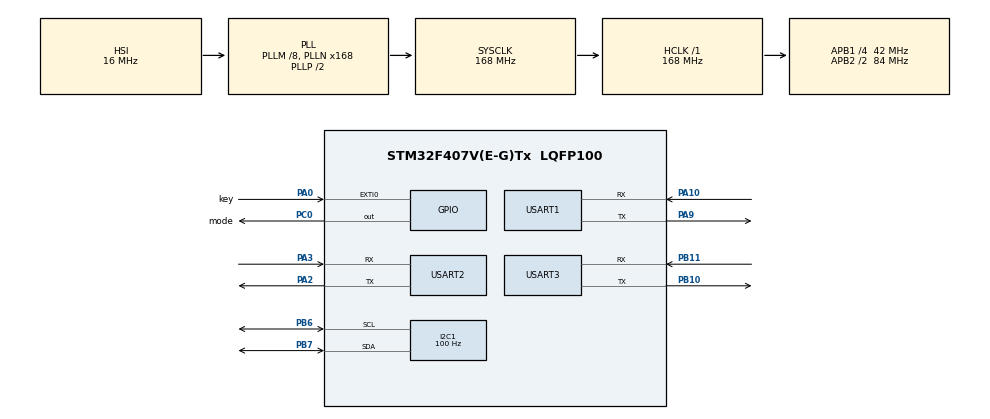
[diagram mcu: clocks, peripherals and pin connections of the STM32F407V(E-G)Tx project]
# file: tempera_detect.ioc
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I2C1.ClockSpeed=100
Mcu.Family=STM32F4
Mcu.Name=STM32F407V(E-G)Tx
Mcu.Package=LQFP100
NVIC.EXTI0_IRQn=true\:2\:0\:true\:false\:true\:true\:true
NVIC.PriorityGroup=NVIC_PRIORITYGROUP_2
NVIC.USART1_IRQn=true\:1\:0\:true\:false\:true\:true\:true
NVIC.USART3_IRQn=true\:3\:0\:true\:false\:true\:true\:true
PA0-WKUP.GPIO_Label=key
PA0-WKUP.GPIO_PuPd=GPIO_PULLDOWN
PA0-WKUP.Signal=GPXTI0
PA10.Mode=Asynchronous
PA10.Signal=USART1_RX
PA2.Mode=Asynchronous
PA2.Signal=USART2_TX
PA3.Mode=Asynchronous
PA3.Signal=USART2_RX
PA9.Mode=Asynchronous
PA9.Signal=USART1_TX
PB10.Mode=Asynchronous
PB10.Signal=USART3_TX
PB11.Mode=Asynchronous
PB11.Signal=USART3_RX
PB6.Mode=I2C
PB6.Signal=I2C1_SCL
PB7.Mode=I2C
PB7.Signal=I2C1_SDA
PC0.GPIO_Label=mode
PC0.Signal=GPIO_Output
PH0-OSC_IN.Mode=HSE-External-Oscillator
PH0-OSC_IN.Signal=RCC_OSC_IN
PH1-OSC_OUT.Mode=HSE-External-Oscillator
PH1-OSC_OUT.Signal=RCC_OSC_OUT
ProjectManager.HeapSize=0x200
ProjectManager.StackSize=0x400
ProjectManager.TargetToolchain=MDK-ARM V5.27
RCC.48MHZClocksFreq_Value=84000000
RCC.AHBFreq_Value=168000000
RCC.APB1CLKDivider=RCC_HCLK_DIV4
RCC.APB1Freq_Value=42000000
RCC.APB1TimFreq_Value=84000000
RCC.APB2CLKDivider=RCC_HCLK_DIV2
RCC.APB2Freq_Value=84000000
RCC.APB2TimFreq_Value=168000000
RCC.CortexFreq_Value=168000000
RCC.HCLKFreq_Value=168000000
RCC.HSE_VALUE=25000000
RCC.HSI_VALUE=16000000
RCC.LSE_VALUE=32768
RCC.PLLM=8
RCC.PLLN=168
RCC.SYSCLKFreq_VALUE=168000000
RCC.SYSCLKSource=RCC_SYSCLKSOURCE_PLLCLK
RCC.VCOOutputFreq_Value=336000000
USART1.VirtualMode=VM_ASYNC
USART2.VirtualMode=VM_ASYNC
USART3.VirtualMode=VM_ASYNC
board=custom

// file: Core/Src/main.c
/* USER CODE BEGIN Header */
/**
  ******************************************************************************
  * @file           : main.c
  * @brief          : Main program body
  ******************************************************************************
  * @attention
  *
  * <h2><center>&copy; Copyright (c) 2021 STMicroelectronics.
  * All rights reserved.</center></h2>
  *
  * This software component is licensed by ST under BSD 3-Clause license,
  * the "License"; You may not use this file except in compliance with the
  * License. You may obtain a copy of the License at:
  *                        opensource.org/licenses/BSD-3-Clause
  *
  ******************************************************************************
  */
/* USER CODE END Header */
#include "main.h"
#include "i2c.h"
#include "usart.h"
#include "gpio.h"

/* USER CODE BEGIN Includes */
#include "MLX90614.h"
#include "stdio.h"
#include "string.h"
/* USER CODE END Includes */

/* USER CODE BEGIN PV */
char buf[30];
uint8_t len;

float ObjectTemperature;
float AmbientTemperature;
float Emissivity;
uint8_t Temperature;
uint8_t UART1_RxBuffer;
uint8_t UART3_RxBuffer;
uint8_t buffer1[7] = "\0";
uint8_t buffer2[7] = "\0";
uint8_t mode = 0; //默认0:模式0  1：模式1
uint8_t num, score, state;
uint8_t end[3]= {0xff,0xff,0xff};
uint16_t dist;
/* USER CODE END PV */

void SystemClock_Config(void);

/* USER CODE BEGIN 0 */
/**
  * @brief  串口发送函数
  * @retval None
  */
#include "stdio.h"
#include "stdarg.h"
#include "string.h"

#define    TXBUF_SIZE_MAX    100

void uartx_printf(UART_HandleTypeDef huartx, const char *format, ...)
{
    va_list args;
    uint32_t length;
    uint8_t txbuf[TXBUF_SIZE_MAX] = {0};

    va_start(args, format);
    length = vsnprintf((char *)txbuf, sizeof(txbuf), (char *)format, args);
    va_end(args);
    HAL_UART_Transmit(&huartx, (uint8_t *)txbuf, length, HAL_MAX_DELAY);
    memset(txbuf, 0, TXBUF_SIZE_MAX);
};
/* USER CODE END 0 */

int main(void)
{

  /* MCU Configuration--------------------------------------------------------*/

  /* Reset of all peripherals, Initializes the Flash interface and the Systick. */
  HAL_Init();

  /* Configure the system clock */
  SystemClock_Config();

  /* Initialize all configured peripherals */
  MX_GPIO_Init();
  MX_I2C1_Init();
  MX_USART1_UART_Init();
  MX_USART2_UART_Init();
  MX_USART3_UART_Init();
  /* USER CODE BEGIN 2 */
  MLX90614_Init(&hi2c1);
  MLX90614_SetEmissivity(0.985); // Human skin
  HAL_UART_Receive_IT(&huart1, (uint8_t*)&UART1_RxBuffer, 1); //开启串口中断
  HAL_UART_Receive_IT(&huart3, (uint8_t*)&UART3_RxBuffer, 1); //开启串口中断
  /* USER CODE END 2 */

  /* Infinite loop */
  /* USER CODE BEGIN WHILE */
  while (1)
  {
    MLX90614_ReadAmbientTemperature(&AmbientTemperature);
    MLX90614_ReadObjectTemperature(&ObjectTemperature);
    MLX90614_GetEmissivity(&Emissivity);

//    memset(buf, 0x00, 30); //清空数组
//	  len = sprintf(buf, "Emissivity: %.3f\n\r", Emissivity);   //辐射率
	  //HAL_UART_Transmit(&huart1, (uint8_t*)buf, len, 20);

//	  memset(buf, 0x00, 30);
//	  len = sprintf(buf, "Ambient: %.2f\n\r", AmbientTemperature);    //室温
	  //HAL_UART_Transmit(&huart1, (uint8_t*)buf, len, 20);

	  memset(buf, 0x00, 30);
	  len = sprintf(buf, "Object: %.2f\n\n\r", ObjectTemperature);    //目标温度
	  //HAL_UART_Transmit(&huart2, (uint8_t*)buf, len, 20);
	  HAL_Delay(50);

    if(!mode){
      score = buffer1[2];
      num = buffer1[1]; //0代表未识别的人 1，2，3分别代表三个人
      //uartx_printf(huart2, "num: %d  score: %d\r\n", num, score);
//      uartx_printf(huart2, "")
    }
    else
    {
      state = buffer1[1]; //口罩识别状态
      score = buffer1[2]; //置信率
      //uartx_printf(huart2, "state: %d score: %d\r\n", state, score);
    }
    uartx_printf(huart2, "n0.val=%d", dist);
    HAL_UART_Transmit(&huart2,end,3,0xffff);

    Temperature = (uint8_t)ObjectTemperature;
    uartx_printf(huart2, "n1.val=%d", Temperature);
    HAL_UART_Transmit(&huart2,end,3,0xffff);
    HAL_Delay(20);
    if(state == 0){
      uartx_printf(huart2, "t8.txt=\"请您佩戴口罩\"");
      HAL_UART_Transmit(&huart2,end,3,0xffff);
    }
    else if(state && Temperature<37.3)
    {
      uartx_printf(huart2, "t8.txt=\"体温正常\"");
      HAL_UART_Transmit(&huart2,end,3,0xffff);
    }
    else if(state && Temperature>=37.3)
    {
      uartx_printf(huart2, "t8.txt=\"体温异常\"");
      HAL_UART_Transmit(&huart2,end,3,0xffff);
    }
    HAL_Delay(20);
    /* USER CODE END WHILE */

  }
}

void SystemClock_Config(void)
{
  RCC_OscInitTypeDef RCC_OscInitStruct = {0};
  RCC_ClkInitTypeDef RCC_ClkInitStruct = {0};

  /** Configure the main internal regulator output voltage
  */
  __HAL_RCC_PWR_CLK_ENABLE();
  __HAL_PWR_VOLTAGESCALING_CONFIG(PWR_REGULATOR_VOLTAGE_SCALE1);
  /** Initializes the RCC Oscillators according to the specified parameters
  * in the RCC_OscInitTypeDef structure.
  */
  RCC_OscInitStruct.OscillatorType = RCC_OSCILLATORTYPE_HSI;
  RCC_OscInitStruct.HSIState = RCC_HSI_ON;
  RCC_OscInitStruct.HSICalibrationValue = RCC_HSICALIBRATION_DEFAULT;
  RCC_OscInitStruct.PLL.PLLState = RCC_PLL_ON;
  RCC_OscInitStruct.PLL.PLLSource = RCC_PLLSOURCE_HSI;
  RCC_OscInitStruct.PLL.PLLM = 8;
  RCC_OscInitStruct.PLL.PLLN = 168;
  RCC_OscInitStruct.PLL.PLLP = RCC_PLLP_DIV2;
  RCC_OscInitStruct.PLL.PLLQ = 4;
  if (HAL_RCC_OscConfig(&RCC_OscInitStruct) != HAL_OK)
  {
    Error_Handler();
  }
  /** Initializes the CPU, AHB and APB buses clocks
  */
  RCC_ClkInitStruct.ClockType = RCC_CLOCKTYPE_HCLK|RCC_CLOCKTYPE_SYSCLK
                              |RCC_CLOCKTYPE_PCLK1|RCC_CLOCKTYPE_PCLK2;
  RCC_ClkInitStruct.SYSCLKSource = RCC_SYSCLKSOURCE_PLLCLK;
  RCC_ClkInitStruct.AHBCLKDivider = RCC_SYSCLK_DIV1;
  RCC_ClkInitStruct.APB1CLKDivider = RCC_HCLK_DIV4;
  RCC_ClkInitStruct.APB2CLKDivider = RCC_HCLK_DIV2;

  if (HAL_RCC_ClockConfig(&RCC_ClkInitStruct, FLASH_LATENCY_5) != HAL_OK)
  {
    Error_Handler();
  }
}

/* USER CODE BEGIN 4 */
void HAL_UART_RxCpltCallback(UART_HandleTypeDef *huart)
{
   static uint8_t count = 0;
   static uint8_t count1 = 0;
   if(huart->Instance == huart1.Instance)
   {
     if(count == 0 && UART1_RxBuffer == 0xff)
     {
        count = 1;
        buffer1[0] = 0xff;
     }
     else if(count == 1)
     {
        count = 2;
        buffer1[1] = UART1_RxBuffer;
     }
     else if(count == 2)
     {
        count = 3;
        buffer1[2] = UART1_RxBuffer;
     }
     else if(count == 3 && UART1_RxBuffer == 0xfe)
     {
        count = 0;
        buffer1[3] = 0xfe;
     }
     else
       count = 0;
     HAL_UART_Receive_IT(&huart1, (uint8_t*)&UART1_RxBuffer, 1);
   }

   if(huart->Instance == huart3.Instance)
   {
      if(count1 == 0 && UART3_RxBuffer == 0x59)
      {
       count1++;
       buffer2[0] = UART3_RxBuffer;
      }
      else if(count1 == 1 && UART3_RxBuffer == 0x59)
      {
         count1++;
         buffer2[1] = UART3_RxBuffer;
      }
      else if(count1 == 2)
      {
         count1++;
         buffer2[2] = UART3_RxBuffer;
      }
      else if(count1 == 3)
      {
         buffer2[3] = UART3_RxBuffer;
         dist = buffer2[3]<<8 | buffer2[2];
         count1 = 0;
      }
      else
        count1 = 0;
      HAL_UART_Receive_IT(&huart3, (uint8_t*)&UART3_RxBuffer, 1);
   }
}

void HAL_GPIO_EXTI_Callback(uint16_t GPIO_Pin) {
  if(GPIO_Pin == key_Pin) {
      HAL_GPIO_WritePin(mode_GPIO_Port, mode_Pin, GPIO_PIN_SET);
      //uartx_printf(huart2, "hello_world!\r\n");
      mode = 1;
  }
}
/* USER CODE END 4 */

void Error_Handler(void)
{
}

/************************ (C) COPYRIGHT STMicroelectronics *****END OF FILE****/
